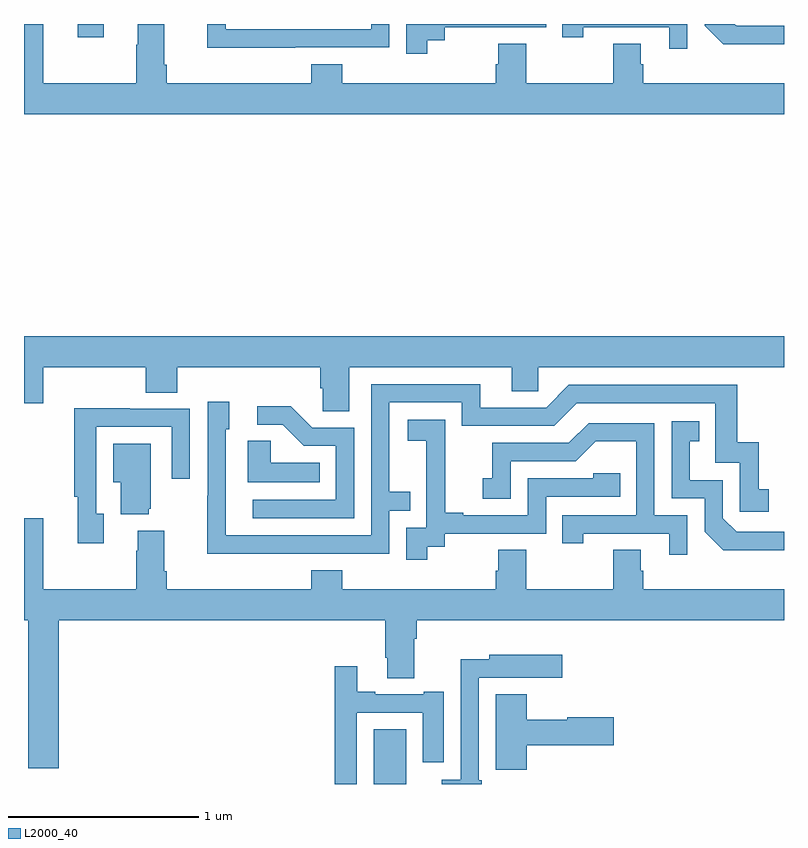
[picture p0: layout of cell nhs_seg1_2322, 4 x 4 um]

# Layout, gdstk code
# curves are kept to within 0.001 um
import gdstk
lib = gdstk.Library(unit=1e-6, precision=1e-09)
def R(c, l, rs):  # rectangles x0, y0, x1, y1
    for r in rs: c.add(gdstk.rectangle(r[:2], r[2:], *l))
def P(c, l, *ps):  # polygons
    for p in ps: c.add(gdstk.Polygon(p, *l))
L2000_40 = (2000, 40)

nhs_seg1_2322 = lib.new_cell('nhs_seg1_2322')
R(nhs_seg1_2322, L2000_40, [(238.841,556.199,239.011,556.486), (237.284,560.13,237.421,560.199)])
P(nhs_seg1_2322, L2000_40, [(241,560.19),(240.75,560.19),(240.741,560.199),(240.582,560.199),(240.582,560.19),(240.68,560.093),(241,560.093)],
  [(239.122,560.113),(239.214,560.113),(239.214,560.181),(239.748,560.181),(239.748,560.199),(239.013,560.199),(239.013,560.043),(239.122,560.043)],
  [(240.492,560.199),(239.833,560.199),(239.833,560.13),(239.944,560.13),(239.944,560.181),(240.395,560.181),(240.395,560.07),(240.492,560.07)],
  [(241,559.888),(240.26,559.888),(240.26,559.986),(240.247,559.986),(240.247,560.096),(240.1,560.096),(240.1,559.888),(239.643,559.888),(239.643,560.096),(239.495,560.096),(239.495,559.986),(239.483,559.986),(239.483,559.888),(238.676,559.888),(238.676,559.987),(238.511,559.987),(238.511,559.888),(237.752,559.888),(237.752,559.984),(237.739,559.984),(237.739,560.197),(237.599,560.197),(237.599,560.09),(237.592,560.09),(237.592,559.888),(237.1,559.888),(237.1,560.199),(237,560.199),(237,559.724),(241,559.724)],
  [(238.427,560.076),(238.923,560.076),(238.923,560.199),(238.827,560.199),(238.827,560.172),(238.062,560.172),(238.062,560.199),(237.964,560.199),(237.964,560.075),(238.427,560.075)],
  [(238.711,558.392),(239.567,558.392),(239.567,558.265),(239.706,558.265),(239.706,558.392),(241,558.392),(241,558.556),(237,558.556),(237,558.204),(237.1,558.204),(237.1,558.392),(237.641,558.392),(237.641,558.259),(237.806,558.259),(237.806,558.392),(238.559,558.392),(238.559,558.283),(238.572,558.283),(238.572,558.16),(238.711,558.16)],
  [(238.427,557.412),(238.923,557.412),(238.923,557.637),(239.033,557.637),(239.033,557.738),(238.923,557.738),(238.923,558.207),(239.304,558.207),(239.304,558.084),(239.79,558.084),(239.91,558.204),(240.639,558.204),(240.639,557.889),(240.768,557.889),(240.768,557.631),(240.919,557.631),(240.919,557.751),(240.866,557.751),(240.866,557.998),(240.755,557.998),(240.755,558.3),(239.868,558.3),(239.748,558.18),(239.401,558.18),(239.401,558.303),(238.827,558.303),(238.827,557.508),(238.062,557.508),(238.062,558.066),(238.081,558.066),(238.081,558.211),(237.966,558.211),(237.966,557.717),(237.964,557.717),(237.964,557.411)],
  [(238.737,558.075),(238.518,558.075),(238.405,558.188),(238.227,558.188),(238.227,558.09),(238.361,558.09),(238.472,557.979),(238.641,557.979),(238.641,557.694),(238.203,557.694),(238.203,557.598),(238.737,557.598)],
  [(237.421,557.622),(237.381,557.622),(237.381,558.078),(237.777,558.078),(237.777,557.805),(237.873,557.805),(237.873,558.174),(237.557,558.174),(237.557,558.176),(237.265,558.176),(237.265,557.71),(237.284,557.71),(237.284,557.466),(237.421,557.466)],
  [(239.122,557.449),(239.214,557.449),(239.214,557.517),(239.748,557.517),(239.748,557.712),(240.137,557.712),(240.137,557.835),(239.997,557.835),(239.997,557.808),(239.652,557.808),(239.652,557.613),(239.311,557.613),(239.311,557.626),(239.216,557.626),(239.216,557.909),(239.217,557.909),(239.217,558.115),(239.019,558.115),(239.019,558.005),(239.117,558.005),(239.117,557.777),(239.118,557.777),(239.118,557.547),(239.013,557.547),(239.013,557.379),(239.122,557.379)],
  [(241,557.526),(240.75,557.526),(240.678,557.598),(240.678,557.799),(240.505,557.799),(240.505,558.003),(240.554,558.003),(240.554,558.109),(240.408,558.109),(240.408,557.703),(240.582,557.703),(240.582,557.526),(240.68,557.429),(241,557.429)],
  [(240.492,557.613),(240.318,557.613),(240.318,558.099),(239.972,558.099),(239.867,557.994),(239.464,557.994),(239.464,557.809),(239.415,557.809),(239.415,557.7),(239.562,557.7),(239.562,557.898),(239.904,557.898),(240.008,558.002),(240.222,558.002),(240.222,557.613),(239.833,557.613),(239.833,557.466),(239.944,557.466),(239.944,557.517),(240.395,557.517),(240.395,557.406),(240.492,557.406)],
  [(238.556,557.89),(238.299,557.89),(238.299,558.005),(238.178,558.005),(238.178,557.786),(238.556,557.786)],
  [(237.656,557.649),(237.667,557.649),(237.667,557.989),(237.47,557.989),(237.47,557.786),(237.509,557.786),(237.509,557.618),(237.656,557.618)],
  [(237.182,557.06),(238.901,557.06),(238.901,556.864),(238.913,556.864),(238.913,556.756),(239.053,556.756),(239.053,556.964),(239.066,556.964),(239.066,557.06),(241,557.06),(241,557.224),(240.26,557.224),(240.26,557.322),(240.247,557.322),(240.247,557.432),(240.1,557.432),(240.1,557.224),(239.643,557.224),(239.643,557.432),(239.495,557.432),(239.495,557.322),(239.483,557.322),(239.483,557.224),(238.676,557.224),(238.676,557.323),(238.511,557.323),(238.511,557.224),(237.752,557.224),(237.752,557.32),(237.739,557.32),(237.739,557.533),(237.599,557.533),(237.599,557.426),(237.592,557.426),(237.592,557.224),(237.1,557.224),(237.1,557.599),(237,557.599),(237,557.06),(237.022,557.06),(237.022,556.281),(237.182,556.281)],
  [(239.41,556.218),(239.394,556.218),(239.394,556.758),(239.606,556.758),(239.606,556.757),(239.833,556.757),(239.833,556.879),(239.448,556.879),(239.448,556.856),(239.298,556.856),(239.298,556.222),(239.198,556.222),(239.198,556.199),(239.41,556.199)],
  [(238.752,556.575),(239.099,556.575),(239.099,556.314),(239.209,556.314),(239.209,556.684),(239.105,556.684),(239.105,556.671),(238.849,556.671),(238.849,556.684),(238.753,556.684),(238.753,556.819),(238.636,556.819),(238.636,556.199),(238.752,556.199)],
  [(239.645,556.403),(240.103,556.403),(240.103,556.55),(239.859,556.55),(239.859,556.537),(239.645,556.537),(239.645,556.672),(239.483,556.672),(239.483,556.275),(239.645,556.275)])

lib.write_gds('nhs_seg1_2322.gds')
